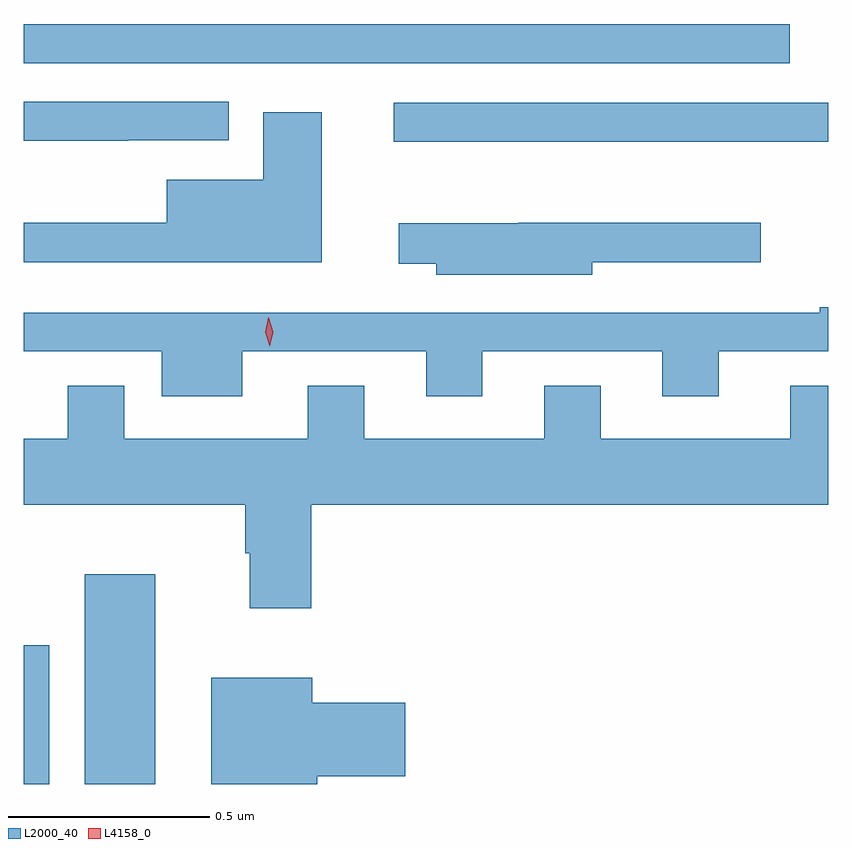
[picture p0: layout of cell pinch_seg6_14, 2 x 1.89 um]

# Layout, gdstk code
import gdstk
lib = gdstk.Library(unit=1e-6, precision=1e-09)
def R(c, l, rs):  # rectangles x0, y0, x1, y1
    for r in rs: c.add(gdstk.rectangle(r[:2], r[2:], *l))
def P(c, l, *ps):  # polygons
    for p in ps: c.add(gdstk.Polygon(p, *l))
L2000_40 = (2000, 40)
L4158_0 = (4158, 0)

pinch_seg6_14 = lib.new_cell('pinch_seg6_14')
R(pinch_seg6_14, L2000_40, [(921.787,991.93,921.85,992.275), (921.938,991.93,922.114,992.452), (922.707,993.527,923.787,993.624), (921.787,993.723,923.692,993.82)])
P(pinch_seg6_14, L2000_40, [(922.046,993.531),(922.297,993.531),(922.297,993.627),(921.787,993.627),(921.787,993.53),(922.046,993.53)],
  [(922.528,993.601),(922.382,993.601),(922.382,993.433),(922.142,993.433),(922.142,993.326),(921.787,993.326),(921.787,993.228),(922.246,993.228),(922.246,993.227),(922.528,993.227)],
  [(923.2,993.228),(923.62,993.228),(923.62,993.326),(923.016,993.326),(923.016,993.325),(922.719,993.325),(922.719,993.224),(922.812,993.224),(922.812,993.197),(923.2,993.197)],
  [(922.33,993.006),(922.787,993.006),(922.787,992.894),(922.927,992.894),(922.927,993.006),(923.375,993.006),(923.375,992.894),(923.515,992.894),(923.515,993.006),(923.787,993.006),(923.787,993.115),(923.766,993.115),(923.766,993.102),(921.787,993.102),(921.787,993.006),(922.13,993.006),(922.13,992.894),(922.33,992.894)],
  [(922.502,992.624),(923.787,992.624),(923.787,992.921),(923.693,992.921),(923.693,992.788),(923.221,992.788),(923.221,992.921),(923.081,992.921),(923.081,992.788),(922.633,992.788),(922.633,992.921),(922.493,992.921),(922.493,992.788),(922.036,992.788),(922.036,992.921),(921.896,992.921),(921.896,992.788),(921.787,992.788),(921.787,992.624),(922.337,992.624),(922.337,992.504),(922.349,992.504),(922.349,992.367),(922.502,992.367)],
  [(922.517,991.949),(922.735,991.949),(922.735,992.132),(922.504,992.132),(922.504,992.194),(922.253,992.194),(922.253,991.93),(922.517,991.93)])
P(pinch_seg6_14, L4158_0, [(922.398,993.019),(922.398,993.019),(922.387,993.053),(922.395,993.089),(922.396,993.089),(922.396,993.089),(922.407,993.054),(922.398,993.019)])

lib.write_gds('pinch_seg6_14.gds')
